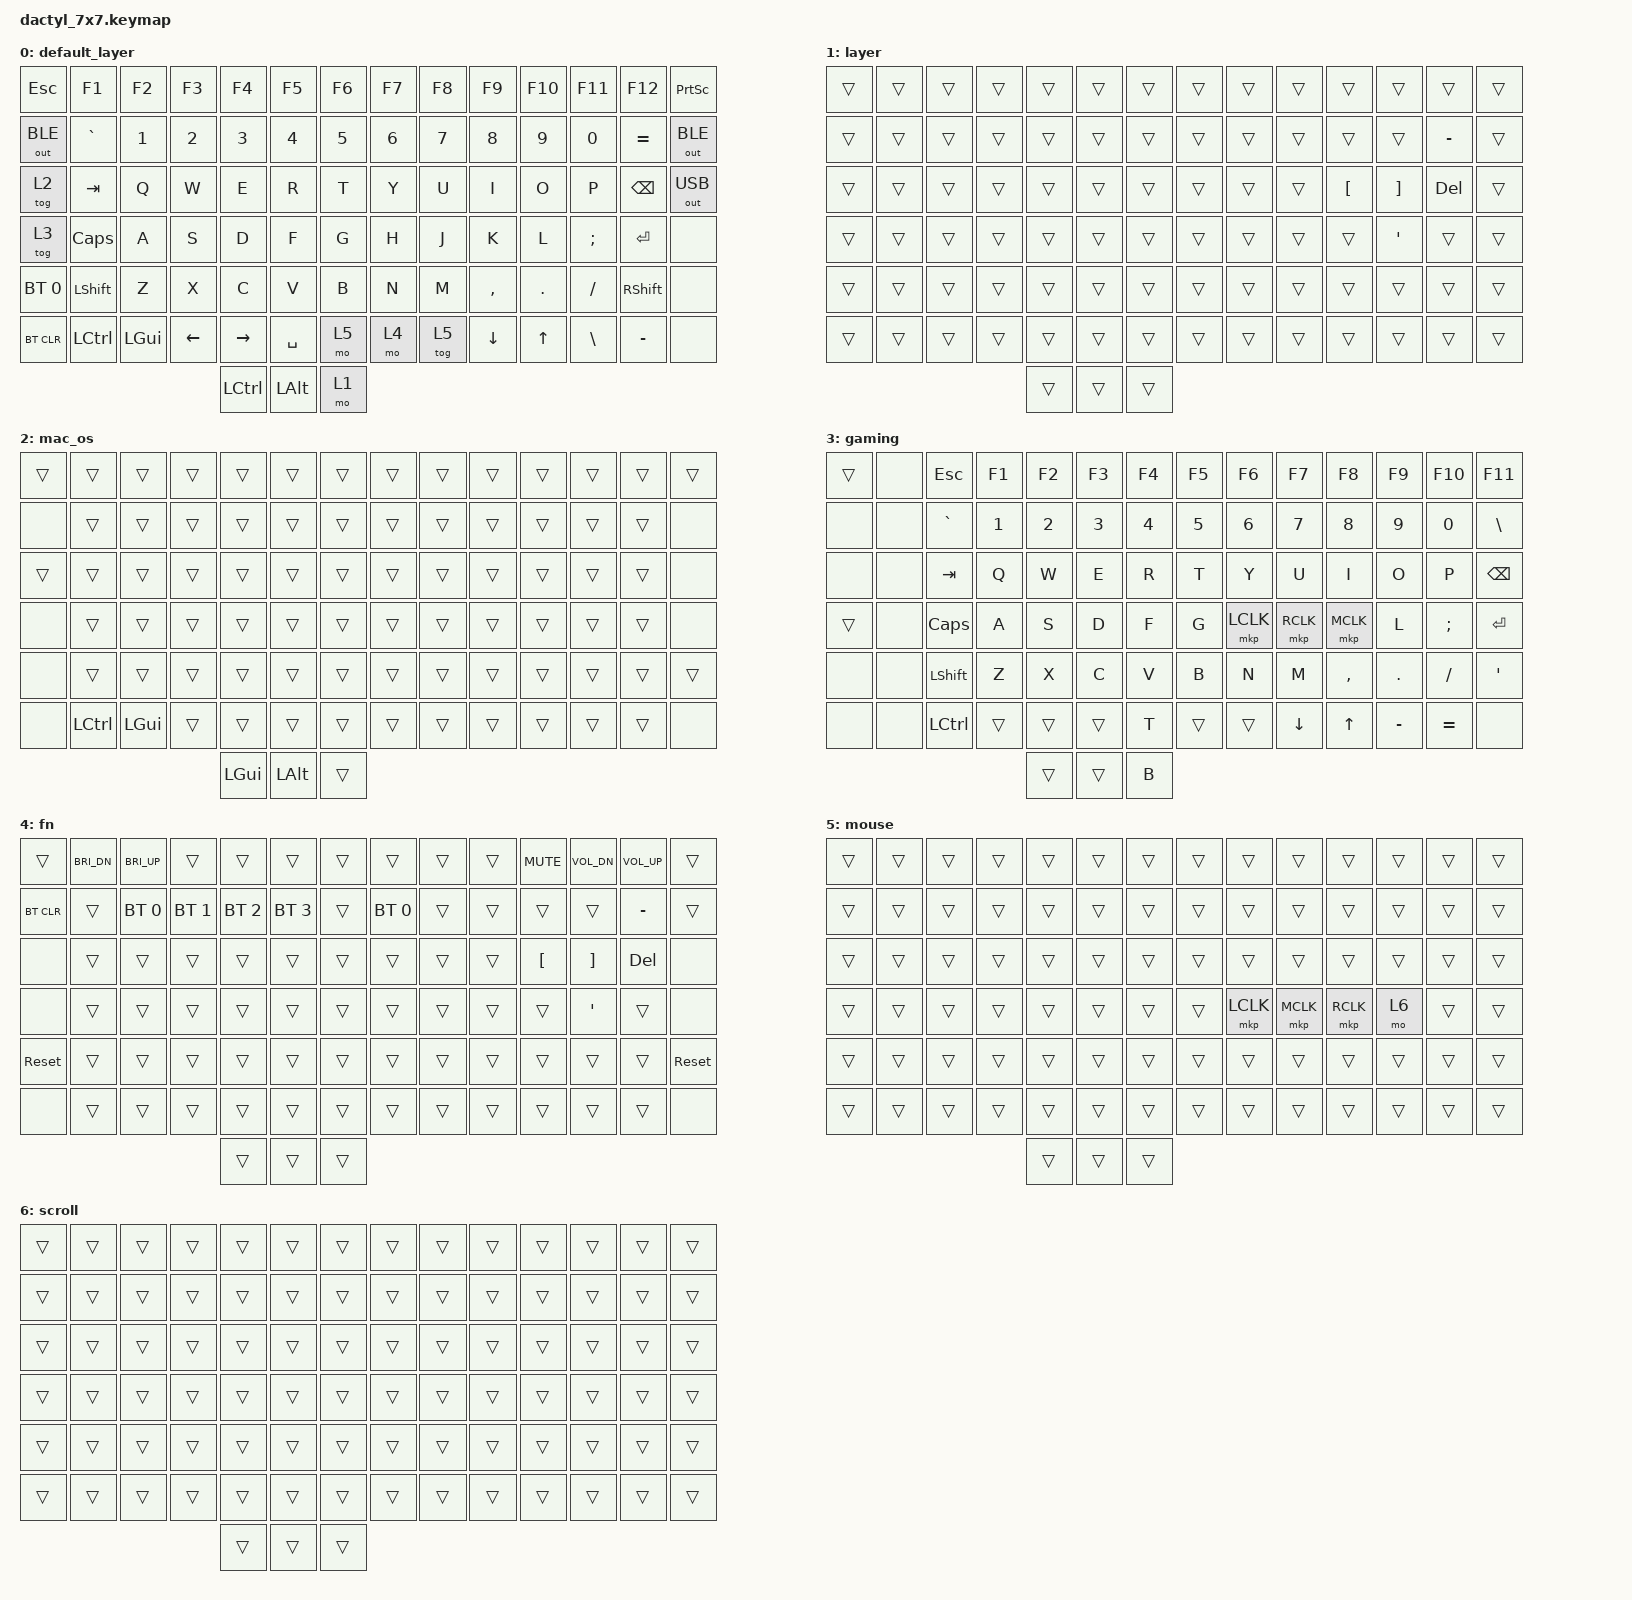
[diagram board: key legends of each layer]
#include <behaviors.dtsi>
#include <behaviors/mouse_keys.dtsi>

#include <dt-bindings/zmk/keys.h>
#include <dt-bindings/zmk/bt.h>
#include <dt-bindings/zmk/outputs.h>
#include <dt-bindings/zmk/mouse.h>

#define DEFAULT = 0
#define LR = 1
#define MAC_OS = 2
#define GAMING = 3
#define FN = 4

#define MOUSE = 5
#define SCROLL = 6

/ {
    keymap {
        compatible = "zmk,keymap";

        default_layer {
            bindings = <
                &kp ESC      &kp F1      &kp F2      &kp F3      &kp F4      &kp F5      &kp F6          &kp F7      &kp F8      &kp F9      &kp F10      &kp F11     &kp F12     &kp PSCRN
                &out OUT_BLE &kp GRAVE   &kp N1      &kp N2      &kp N3      &kp N4      &kp N5          &kp N6      &kp N7      &kp N8      &kp N9       &kp N0      &kp EQUAL   &out OUT_BLE
                &tog 2       &kp TAB     &kp Q       &kp W       &kp E       &kp R       &kp T           &kp Y       &kp U       &kp I       &kp O        &kp P       &kp BSPC    &out OUT_USB
                &tog 3       &kp CAPS    &kp A       &kp S       &kp D       &kp F       &kp G           &kp H       &kp J       &kp K       &kp L        &kp SEMI    &kp ENTER   &none
                &bt BT_SEL 0 &kp LSHFT   &kp Z       &kp X       &kp C       &kp V       &kp B           &kp N       &kp M       &kp COMMA   &kp DOT      &kp SLASH   &kp RSHIFT  &none
                &bt BT_CLR   &kp LCTRL   &kp LGUI    &kp LEFT    &kp RIGHT   &kp SPACE   &mo 5           &mo 4       &tog 5      &kp DOWN    &kp UP       &kp BSLH    &kp MINUS   &none
                                                                 &kp LCTRL   &kp LALT    &mo 1
            >;
        };

        layer {
            bindings = <
                &trans      &trans      &trans      &trans      &trans      &trans      &trans          &trans      &trans      &trans      &trans       &trans      &trans      &trans
                &trans      &trans      &trans      &trans      &trans      &trans      &trans          &trans      &trans      &trans      &trans       &trans      &kp MINUS   &trans
                &trans      &trans      &trans      &trans      &trans      &trans      &trans          &trans      &trans      &trans      &kp LBKT     &kp RBKT    &kp DEL     &trans
                &trans      &trans      &trans      &trans      &trans      &trans      &trans          &trans      &trans      &trans      &trans       &kp APOS    &trans      &trans
                &trans      &trans      &trans      &trans      &trans      &trans      &trans          &trans      &trans      &trans      &trans       &trans      &trans      &trans
                &trans      &trans      &trans      &trans      &trans      &trans      &trans          &trans      &trans      &trans      &trans       &trans      &trans      &trans
                                                                &trans      &trans      &trans
            >;
        };

        mac_os {
            bindings = <
                &trans      &trans      &trans      &trans      &trans      &trans      &trans          &trans      &trans      &trans      &trans       &trans      &trans      &trans
                &none       &trans      &trans      &trans      &trans      &trans      &trans          &trans      &trans      &trans      &trans       &trans      &trans      &none
                &trans      &trans      &trans      &trans      &trans      &trans      &trans          &trans      &trans      &trans      &trans       &trans      &trans      &none
                &none       &trans      &trans      &trans      &trans      &trans      &trans          &trans      &trans      &trans      &trans       &trans      &trans      &none
                &none       &trans      &trans      &trans      &trans      &trans      &trans          &trans      &trans      &trans      &trans       &trans      &trans      &trans
                &none       &kp LCTRL   &kp LGUI    &trans      &trans      &trans      &trans          &trans      &trans      &trans      &trans       &trans      &trans      &none
                                                                &kp LGUI    &kp LALT    &trans
            >;
        };

        gaming {
            bindings = <
                &trans      &none       &kp ESC     &kp F1      &kp F2      &kp F3      &kp F4         &kp F5      &kp F6      &kp F7      &kp F8      &kp F9       &kp F10     &kp F11
                &none       &none       &kp GRAVE   &kp N1      &kp N2      &kp N3      &kp N4         &kp N5      &kp N6      &kp N7      &kp N8      &kp N9       &kp N0      &kp BSLH
                &none       &none       &kp TAB     &kp Q       &kp W       &kp E       &kp R          &kp T       &kp Y       &kp U       &kp I       &kp O        &kp P       &kp BSPC
                &trans      &none       &kp CAPS    &kp A       &kp S       &kp D       &kp F          &kp G       &mkp LCLK   &mkp RCLK   &mkp MCLK   &kp L        &kp SEMI    &kp ENTER
                &none       &none       &kp LSHFT   &kp Z       &kp X       &kp C       &kp V          &kp B       &kp N       &kp M       &kp COMMA   &kp DOT      &kp SLASH   &kp SQT
                &none       &none       &kp LCTRL   &trans      &trans      &trans      &kp T          &trans      &trans      &kp DOWN    &kp UP      &kp MINUS    &kp EQUAL   &none
                                                                &trans      &trans      &kp B
            >;
        };

        fn {
            bindings = <
                &trans      &kp C_BRI_DN &kp C_BRI_UP &trans       &trans       &trans       &trans          &trans       &trans      &trans      &kp C_MUTE   &kp C_VOL_DN &kp C_VOL_UP &trans
                &bt BT_CLR  &trans       &bt BT_SEL 0 &bt BT_SEL 1 &bt BT_SEL 2 &bt BT_SEL 3 &trans          &bt BT_SEL 0 &trans      &trans      &trans       &trans       &kp MINUS    &trans
                &none       &trans       &trans       &trans       &trans       &trans       &trans          &trans       &trans      &trans      &kp LBKT     &kp RBKT     &kp DEL      &none
                &none       &trans       &trans       &trans       &trans       &trans       &trans          &trans       &trans      &trans      &trans       &kp APOS     &trans       &none
                &sys_reset  &trans       &trans       &trans       &trans       &trans       &trans          &trans       &trans      &trans      &trans       &trans       &trans       &sys_reset
                &none       &trans       &trans       &trans       &trans       &trans       &trans          &trans       &trans      &trans      &trans       &trans       &trans       &none
                                                                   &trans       &trans       &trans
            >;
        };

        mouse {
            bindings = <
                &trans      &trans       &trans       &trans       &trans       &trans       &trans          &trans       &trans      &trans      &trans       &trans       &trans       &trans
                &trans      &trans       &trans       &trans       &trans       &trans       &trans          &trans       &trans      &trans      &trans       &trans       &trans       &trans
                &trans      &trans       &trans       &trans       &trans       &trans       &trans          &trans       &trans      &trans      &trans       &trans       &trans       &trans
                &trans      &trans       &trans       &trans       &trans       &trans       &trans          &trans       &mkp LCLK   &mkp MCLK   &mkp RCLK    &mo 6        &trans       &trans
                &trans      &trans       &trans       &trans       &trans       &trans       &trans          &trans       &trans      &trans      &trans       &trans       &trans       &trans
                &trans      &trans       &trans       &trans       &trans       &trans       &trans          &trans       &trans      &trans      &trans       &trans       &trans       &trans
                                                                   &trans       &trans       &trans
            >;
        };

        scroll {
            bindings = <
                &trans      &trans       &trans       &trans       &trans       &trans       &trans          &trans       &trans      &trans      &trans       &trans       &trans       &trans
                &trans      &trans       &trans       &trans       &trans       &trans       &trans          &trans       &trans      &trans      &trans       &trans       &trans       &trans
                &trans      &trans       &trans       &trans       &trans       &trans       &trans          &trans       &trans      &trans      &trans       &trans       &trans       &trans
                &trans      &trans       &trans       &trans       &trans       &trans       &trans          &trans       &trans      &trans      &trans       &trans       &trans       &trans
                &trans      &trans       &trans       &trans       &trans       &trans       &trans          &trans       &trans      &trans      &trans       &trans       &trans       &trans
                &trans      &trans       &trans       &trans       &trans       &trans       &trans          &trans       &trans      &trans      &trans       &trans       &trans       &trans
                                                                   &trans       &trans       &trans
            >;
        };
    };
 };
